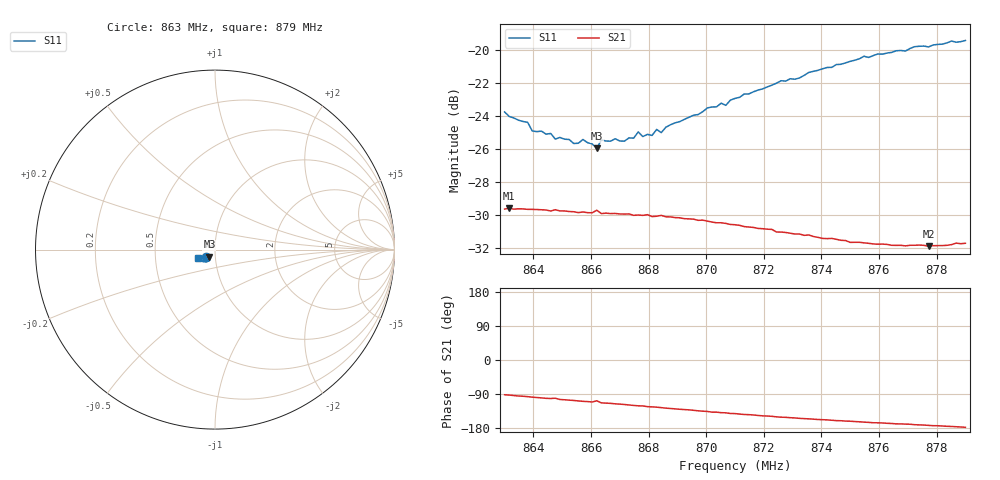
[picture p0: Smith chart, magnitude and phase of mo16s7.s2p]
# HZ S RI R 50
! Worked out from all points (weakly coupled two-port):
!   101 points, 863 MHz to 879 MHz, reference 50 ohm
!   highest |S21| = -29.57 dB at 863.16 MHz (marker M1); lowest = -31.9 dB at 877.72 MHz (marker M2)
!   lowest |S11| = -25.9 dB at 866.2 MHz (marker M3), VSWR 1.11, Z = 46.9 - j3.75 ohm
!   |S11| at or under -10 dB: start of sweep to end of sweep
!   S12 and S22 are empty: the file has one direction only
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8.63e8  -0.0518 -0.0393  -0.00102 -0.033  0 0  0 0
8.6316e8  -0.0505 -0.0376  -0.00149 -0.0332  0 0  0 0
8.638e8  -0.0469 -0.0381  -0.00384 -0.0328  0 0  0 0
8.6396e8  -0.0443 -0.0358  -0.00464 -0.0326  0 0  0 0
8.646e8  -0.0415 -0.0376  -0.00654 -0.0319  0 0  0 0
8.6476e8  -0.0387 -0.0374  -0.00619 -0.0323  0 0  0 0
8.654e8  -0.036 -0.0377  -0.00937 -0.0311  0 0  0 0
8.6572e8  -0.0356 -0.0402  -0.0106 -0.0306  0 0  0 0
8.662e8  -0.0308 -0.0399  -0.00992 -0.0312  0 0  0 0
8.6636e8  -0.0335 -0.0417  -0.0126 -0.0294  0 0  0 0
8.6716e8  -0.0296 -0.044  -0.0147 -0.0283  0 0  0 0
8.6764e8  -0.0308 -0.0474  -0.0163 -0.0272  0 0  0 0
8.678e8  -0.0292 -0.0463  -0.0164 -0.0271  0 0  0 0
8.6812e8  -0.0289 -0.0471  -0.0174 -0.0261  0 0  0 0
8.6828e8  -0.0294 -0.0495  -0.0178 -0.0259  0 0  0 0
8.6844e8  -0.0284 -0.0486  -0.0185 -0.0257  0 0  0 0
8.6876e8  -0.0288 -0.052  -0.0192 -0.0247  0 0  0 0
8.71e8  -0.0355 -0.062  -0.0232 -0.0185  0 0  0 0
8.7372e8  -0.0527 -0.0683  -0.025 -0.0111  0 0  0 0
8.7644e8  -0.0768 -0.0615  -0.0251 -0.00553  0 0  0 0
8.7772e8  -0.0869 -0.0539  -0.0253 -0.00333  0 0  0 0
8.79e8  -0.097 -0.0451  -0.026 -0.00105  0 0  0 0
